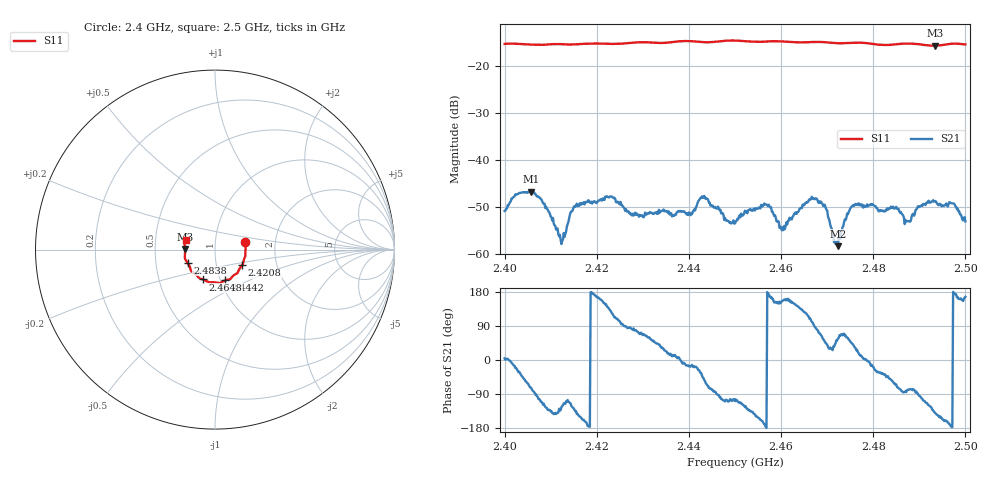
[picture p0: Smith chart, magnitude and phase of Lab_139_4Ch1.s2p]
# Hz S RI R 50
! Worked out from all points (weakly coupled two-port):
!   601 points, 2.4 GHz to 2.5 GHz, reference 50 ohm
!   highest |S21| = -46.71 dB at 2.4057 GHz (marker M1); lowest = -58.3 dB at 2.4723 GHz (marker M2)
!   lowest |S11| = -15.6 dB at 2.4933 GHz (marker M3), VSWR 1.40, Z = 35.8 + j0.0522 ohm
!   |S11| at or under -10 dB: start of sweep to end of sweep
!   S12 and S22 are empty: the file has one direction only
!   S11 on the Smith chart (normalised r, x): 2.4 GHz: 1.40, +0.12; 2.4208 GHz: 1.33, -0.24; 2.4442 GHz: 1.05, -0.37; 2.4648 GHz: 0.83, -0.28; 2.4838 GHz: 0.73, -0.11; 2.5 GHz: 0.72, +0.08
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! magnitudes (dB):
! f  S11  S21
! 2.4 GHz  -15.2  -50.8
! 2.4057 GHz  -15.4  -46.7
! 2.4122 GHz  -15.3  -57.0
! 2.4147 GHz  -15.4  -50.9
! 2.4167 GHz  -15.2  -49.2
! 2.4208 GHz  -15.2  -48.4
! 2.4333 GHz  -15.0  -51.4
! 2.4442 GHz  -14.9  -48.5
! 2.45 GHz  -14.5  -53.5
! 2.4568 GHz  -14.7  -49.5
! 2.4605 GHz  -14.7  -54.9
! 2.4648 GHz  -14.9  -49.6
! 2.4667 GHz  -14.8  -47.8
! 2.4695 GHz  -14.9  -49.5
! 2.4723 GHz  -15.1  -58.3
! 2.4757 GHz  -15.0  -49.6
! 2.4833 GHz  -15.5  -50.3
! 2.4838 GHz  -15.4  -49.9
! 2.4877 GHz  -15.2  -53.0
! 2.4933 GHz  -15.6  -48.8
! 2.4972 GHz  -15.2  -49.2
! 2.5 GHz  -15.3  -53.1
